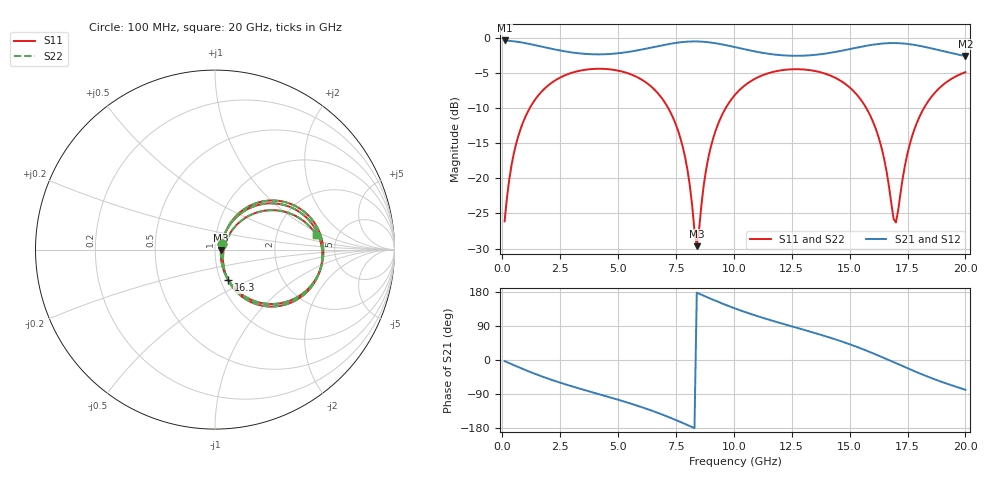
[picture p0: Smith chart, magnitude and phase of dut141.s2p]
! Touchstone file exported from HFSS 2026.1.0
!  File:  C:/ffzhzh/LocalFiles/Ansys_Project_Files/temp_train_TSV_RDL_141_1783050663_18316.aedt
!  Generated:  12:06:50 PM Jul  3, 2026
!  Design:  TSV_RDL
!  Project:  temp_train_TSV_RDL_141_1783050663_18316
! Variables:
!  h_bsmrdl = 2.28um
!  h_ox = 20um
!  h_rdl = 5um
!  h_sub = 98.75um
!  h_tmrdl = 5.17um
!  h_tsv = 98.75um
!  h_via = 3um
!  l_bsmrdl = 988.02um
!  l_sub = 7255.18um
!  l_tmrdl = 941.49um
!  m_sub = 200um
!  pitch = 57.94um
!  r_tsv = 8.91um
!  s_tmrdl = 10um
!  w_bsmrdl = 16.04um
!  w_sub = 500um
!  w_tmrdl = 25.68um
!  x_tsv_center1 = 954.33um
!  x_tsv_center2 = 1958.39um
!  x_tsv_center3 = 2925.56um
!  x_tsv_center4 = 3929.62um
!  x_tsv_center5 = 4896.79um
!  x_tsv_center6 = 5900.85um
# GHz S MA R 50.000000
! Terminal data exported
! Port[1] = TM_RDL1_1_T1
! Port[2] = TM_RDL5_1_T1
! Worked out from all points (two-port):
!   200 points, 100 MHz to 20 GHz, reference 50 ohm
!   highest |S21| = -0.35 dB at 100 MHz (marker M1); lowest = -2.6 dB at 20 GHz (marker M2)
!   |S21| within 3 dB of the highest: start of sweep to end of sweep
!   lowest |S11| = -29.7 dB at 8.4 GHz (marker M3), VSWR 1.07, Z = 53.4 - j0.194 ohm
!   |S11| at or under -10 dB: start of sweep to 1.185 GHz; 7.168 GHz to 9.647 GHz (2.479 GHz wide, 29.5 % of centre); 15.72 GHz to 18.21 GHz (2.486 GHz wide, 14.7 % of centre)
!   |S22| runs from -29.6 to -4.4 dB; largest |S21 - S12| = 1.7e-14
!   S11 on the Smith chart (normalised r, x): 100 MHz: 1.08, +0.06; 16.3 GHz: 1.09, -0.38; 20 GHz: 3.44, +0.84
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0.1  0.04939 35.5  0.9608 -2.8  0.9608 -2.8  0.04939 35.5
! Gamma 0 0 0 0
! Port Impedance 50 0 50 0
0.5  0.1507 60.1  0.9474 -13.7  0.9474 -13.7  0.1507 60.1
1.1  0.2978 52.7  0.9124 -29.0  0.9124 -29.0  0.2978 52.7
2.1  0.4758 33.6  0.84 -51.7  0.84 -51.7  0.4758 33.6
3.5  0.5913 8.9  0.7725 -78.4  0.7725 -78.4  0.5913 8.9
5.1  0.5809 -17.7  0.7818 -106.6  0.7818 -106.6  0.5809 -17.7
6.8  0.3896 -49.5  0.8803 -141.4  0.8803 -141.4  0.3896 -49.5
7.8  0.1661 -67.1  0.9366 -166.3  0.9366 -166.3  0.1661 -66.9
8.1  0.08863 -64.5  0.944 -174.3  0.944 -174.3  0.08878 -64.2
8.4  0.03287 -3.2  0.9453 177.6  0.9453 177.6  0.0333 -3.2
8.7  0.0893 56.5  0.9401 169.6  0.9401 169.6  0.08946 56.3
9  0.1659 59.0  0.9289 161.7  0.9289 161.7  0.166 58.9
10.1  0.4023 39.9  0.8574 134.9  0.8574 134.9  0.4023 39.8
11.8  0.5788 9.0  0.761 101.1  0.761 101.1  0.5788 9.0
13.4  0.5864 -17.2  0.7558 73.0  0.7558 73.0  0.5864 -17.2
15.2  0.4136 -49.3  0.8465 37.2  0.8465 37.2  0.4136 -49.2
16.3  0.1846 -66.8  0.9091 10.3  0.9091 10.3  0.1848 -66.5
16.7  0.08762 -59.0  0.9193 -0.4  0.9193 -0.4  0.08817 -58.3
17  0.04846 0.0  0.9201 -8.4  0.9201 -8.4  0.04962 -0.1
17.5  0.1507 48.9  0.9078 -21.8  0.9078 -21.8  0.1511 48.4
18  0.2707 44.7  0.8812 -34.8  0.8812 -34.8  0.2709 44.5
20  0.5706 8.3  0.7447 -78.5  0.7447 -78.5  0.5708 8.2
